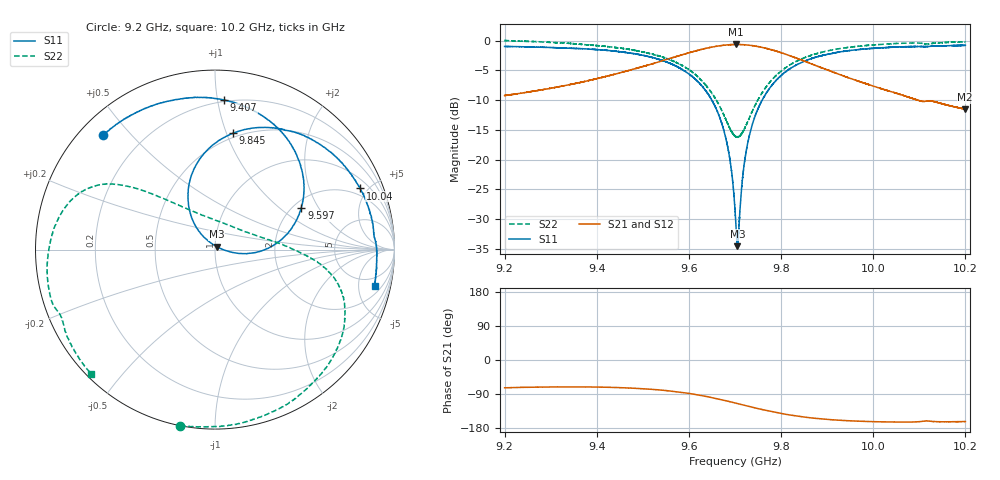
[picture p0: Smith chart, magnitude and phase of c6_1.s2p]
!Agilent Technologies,N5242A,MY51221714,A.09.90.19
!Agilent N5242A: A.09.90.19
!Date: Tuesday, March 26, 2024 15:56:14
!Correction: S11(Full 2 Port(1,2))
!S21(Full 2 Port(1,2))
!S12(Full 2 Port(1,2))
!S22(Full 2 Port(1,2))
!S2P File: Measurements: S11, S21, S12, S22:
# Hz S  dB  R 50
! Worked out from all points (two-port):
!   16001 points, 9.2 GHz to 10.2 GHz, reference 50 ohm
!   highest |S21| = -0.65 dB at 9.702 GHz (marker M1); lowest = -11.6 dB at 10.2 GHz (marker M2)
!   |S21| within 3 dB of the highest: 9.532 GHz to 9.857 GHz (325 MHz wide, 3.35 % of centre); 9.856896 GHz to 9.856992 GHz (95.85 kHz wide, 0.000972 % of centre)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
!   lowest |S11| = -34.6 dB at 9.705 GHz (marker M3), VSWR 1.04, Z = 51 + j1.62 ohm
!   |S11| at or under -10 dB: 9.649559 GHz to 9.64965 GHz (90.25 kHz wide, 0.000935 % of centre); 9.65 GHz to 9.759 GHz (109.3 MHz wide, 1.13 % of centre); 9.759084 GHz to 9.759162 GHz (77.69 kHz wide, 0.000796 % of centre)
!   |S22| runs from -16.3 to 0.0 dB; largest |S21 - S12| = 0.011
!   S11 on the Smith chart (normalised r, x): 9.2 GHz: 0.07, +0.42; 9.407 GHz: 0.19, +1.04; 9.597 GHz: 2.21, +1.44; 9.845 GHz: 0.46, +1.05; 10.04 GHz: 1.51, +4.46; 10.2 GHz: 3.18, -7.60
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9.2e9  -1.00 134.4  -9.24 -73.3  -9.23 -74.1  -0.00 -101.1
9.278562e9  -1.14 117.3  -8.31 -71.6  -8.31 -72.2  -0.22 -79.6
9.366688e9  -1.37 96.8  -7.00 -71.1  -6.99 -71.7  -0.65 -56.6
9.407062e9  -1.57 86.6  -6.28 -71.6  -6.27 -72.3  -0.90 -46.5
9.533375e9  -3.15 49.4  -3.62 -78.8  -3.60 -79.3  -2.54 -18.5
9.596812e9  -5.45 25.8  -2.13 -87.6  -2.13 -88.3  -4.73 -7.2
9.639e9  -8.70 7.9  -1.28 -96.5  -1.27 -97.0  -7.76 1.8
9.66875e9  -13.35 -4.7  -0.86 -104.2  -0.85 -104.7  -11.38 14.4
9.688188e9  -19.64 -9.2  -0.71 -109.8  -0.69 -110.3  -14.63 35.3
9.7e9  -28.48 4.0  -0.67 -113.4  -0.66 -113.9  -16.02 57.6
9.702e9  -31.02 16.2  -0.65 -114.0  -0.65 -114.5  -16.16 62.4
9.705375e9  -34.56 58.4  -0.66 -115.0  -0.65 -115.5  -16.22 70.1
9.723062e9  -19.18 132.0  -0.73 -120.4  -0.71 -120.9  -14.41 105.1
9.745438e9  -12.32 124.5  -0.96 -126.9  -0.94 -127.5  -10.60 126.7
9.786312e9  -6.95 106.1  -1.70 -137.8  -1.72 -138.4  -6.10 139.7
9.844625e9  -3.66 81.4  -3.29 -149.6  -3.29 -150.1  -3.08 148.6
9.866688e9  -3.02 73.1  -3.95 -152.9  -3.95 -153.4  -2.45 151.8
9.934375e9  -1.84 50.8  -5.93 -159.6  -5.94 -160.1  -1.28 163.5
1.003338e10  -1.17 24.0  -8.48 -163.4  -8.47 -164.0  -0.58 -175.9
1.003788e10  -1.14 22.8  -8.58 -163.5  -8.56 -164.1  -0.55 -174.8
1.019975e10  -0.82 -12.8  -11.55 -162.4  -11.53 -163.1  -0.21 -135.0
1.02e10  -0.80 -12.8  -11.54 -162.5  -11.54 -163.0  -0.21 -134.9
